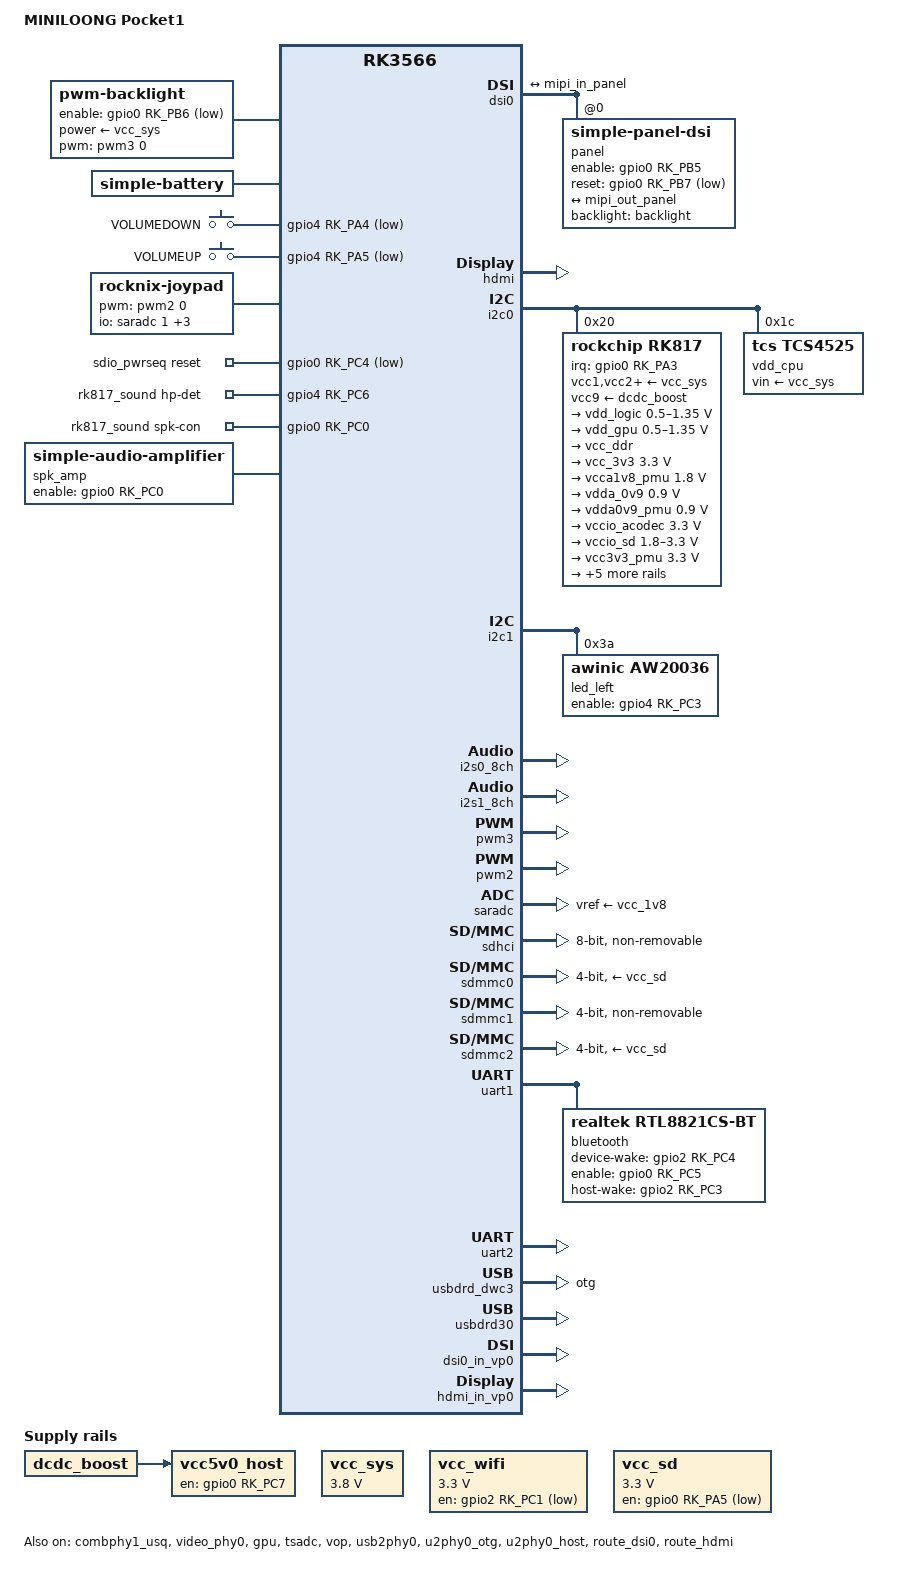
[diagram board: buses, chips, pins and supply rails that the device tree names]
// SPDX-License-Identifier: (GPL-2.0+ OR MIT)

/dts-v1/;

#include <dt-bindings/gpio/gpio.h>
#include <dt-bindings/input/linux-event-codes.h>
#include <dt-bindings/leds/common.h>
#include <dt-bindings/pinctrl/rockchip.h>
#include "rk3566.dtsi"
#include "rk3568-linux.dtsi"

/ {
	model = "MINILOONG Pocket1";
	chassis-type = "handset";
	compatible = "powkiddy,x55", "rockchip,rk3566";


	hdmi_sound: hdmi-sound {
		compatible = "simple-audio-card";
		simple-audio-card,format = "i2s";
		simple-audio-card,mclk-fs = <128>;
		simple-audio-card,name = "rockchip,hdmi";
		status = "okay";

		simple-audio-card,cpu {
			sound-dai = <&i2s0_8ch>;
		};

		simple-audio-card,codec {
			sound-dai = <&hdmi>;
		};
	};


	aliases {
		mmc0 = &sdhci;
		mmc1 = &sdmmc0;
		mmc2 = &sdmmc2;
		mmc3 = &sdmmc1;
	};

	chosen: chosen {
		stdout-path = "serial2:1500000n8";
	};

	backlight: backlight {
		compatible = "pwm-backlight";
		power-supply = <&vcc_sys>;
		enable-gpios = <&gpio0 RK_PB6 GPIO_ACTIVE_LOW>;
		pwms = <&pwm3 0 25000 0>;
		brightness-levels = <
		80	81	82	83	84	85	86	87	
		88	89	90  91  92  93  94  95
		96  97  98  99 100 101 102 103
		104 105 106 107 108 109 110 111
		112 113 114 115 116 117 118 119
		120 121 122 123 124 125 126 127
		128 129 130 131 132 133 134 135
		136 137 138 139 140 141 142 143
		144 145 146 147 148 149 150 151
		152 153 154 155 156 157 158 159
		160 161 162 163 164 165 166 167
		168 169 170 171 172 173 174 175
		176 177 178 179 180 181 182 183
		184 185 186 187 188 189 190 191
		192 193 194 195 196 197 198 199
		200 201 202 203 204 205 206 207
		208 209 210 211 212 213 214 215
		216 217 218 219 220>;
		default-brightness-level = <120>;

	};

	battery: battery {
		compatible = "simple-battery";
		charge-full-design-microamp-hours = <4000000>;
		charge-term-current-microamp = <300000>;
		constant-charge-current-max-microamp = <2000000>;
		constant-charge-voltage-max-microvolt = <4300000>;
		factory-internal-resistance-micro-ohms = <91000>;
		voltage-max-design-microvolt = <4138000>;
		voltage-min-design-microvolt = <3400000>;

		ocv-capacity-celsius = <20>;
		ocv-capacity-table-0 =  <4138000 100>, <4083000 95>, <4059000 90>, <4044000 85>,
					<4030000 80>, <4020000 75>, <4006000 70>, <3972000 65>,
					<3934000 60>, <3904000 55>, <3878000 50>, <3857000 45>,
					<3843000 40>, <3826000 35>, <3801000 30>, <3768000 25>,
					<3735000 20>, <3688000 15>, <3621000 10>, <3553000 5>,
					<3400000 0>;
	};

	gpio_keys_vol: gpio-keys-vol {
		compatible = "gpio-keys";
		autorepeat;
		pinctrl-0 = <&btn_pins_vol>;
		pinctrl-names = "default";

		button-voldown {
			gpios = <&gpio4 RK_PA4 GPIO_ACTIVE_LOW>;
			label = "VOLUMEDOWN";
			linux,code = <KEY_VOLUMEDOWN>;
		};

		button-volup {
			gpios = <&gpio4 RK_PA5 GPIO_ACTIVE_LOW>;
			label = "VOLUMEUP";
			linux,code = <KEY_VOLUMEUP>;
		};
	};


	joypad: rocknix-joypad {
		compatible = "rocknix-joypad";
		status = "okay";

		/* the following 4 dts entries starting from joypad-name are important to keep
		   compatibility with existing userspace programs such as ES and retroarch */
		joypad-name = "retrogame_joypad";
		joypad-product = <0x1101>;
		joypad-revision = <0x0100>;
		joypad-vendor = <0x484B>;

		pwms = <&pwm2 0 1000000000 0>;
		pwm-names = "enable";

		/* analog mux define */
		io-channel-names = "key-RY", "key-RX", "key-LY", "key-LX";
		io-channels = <&saradc 1>,<&saradc 0>,<&saradc 3>, <&saradc 2>;

		/* gpio pincontrol setup */
		pinctrl-names = "default";
		pinctrl-0 = <&btn_pins_ctrl>;

		/* adc calculate scale */
		button-adc-scale = <2>;

		/* adc deadzone range (minimum should be around 12%) */
		button-adc-deadzone = <64>;

		/* specifies fuzz value that is used to filter noise from
		   the event stream. (around 3%) */
		button-adc-fuzz = <54>;
		button-adc-flat = <54>;

		/* analog Stick data tuning value(precent)
		   p = positive direction, n = negative direction
		   report value = (real_adc_data * tuning_value) / 100 */
		abs_x-p-tuning = <280>;
		abs_x-n-tuning = <280>;

		abs_y-p-tuning = <280>;
		abs_y-n-tuning = <280>;

		abs_rx-p-tuning = <180>;
		abs_rx-n-tuning = <180>;

		abs_ry-p-tuning = <180>;
		abs_ry-n-tuning = <180>;

		invert-absx;
		invert-absy;

		/* poll device interval (ms), adc read interval */
		poll-interval = <10>;

		/* gpio button auto repeat set value : default disable */
		/* autorepeat; */

		/*    *** Powkiddy X55 Switch layout ***
		|------------------------------------------------|
		| sw15                                      sw13 |
		| sw16                                      sw14 |
		|------------------------------------------------|
		|                                                |
		|   Analog     |-------------------|             |
		|    sw11      |                   |      sw8    |
		|              |                   |   sw7   sw5 |
		|              |    LCD Display    |      sw6    |
		|     sw1      |                   |             |
		|  sw3  sw4    |                   |    Analog   |
		|     sw2      |-------------------|     sw12    |
		|                                                |
		| sw9 Vol+                           Vol- sw10   |
		|                                                |
		|------------------------------------------------| */

		sw1 {
			gpios = <&gpio3 RK_PD1 GPIO_ACTIVE_LOW>;
			label = "GPIO DPAD-UP";
			linux,code = <BTN_DPAD_UP>;
		};
		sw2 {
			gpios = <&gpio3 RK_PC6 GPIO_ACTIVE_LOW>;
			label = "GPIO DPAD-DOWN";
			linux,code = <BTN_DPAD_DOWN>;
		};
		sw3 {
			gpios = <&gpio3 RK_PC7 GPIO_ACTIVE_LOW>;
			label = "GPIO DPAD-LEFT";
			linux,code = <BTN_DPAD_LEFT>;
		};
		sw4 {
			gpios = <&gpio3 RK_PD0 GPIO_ACTIVE_LOW>;
			label = "GPIO DPAD-RIGHT";
			linux,code = <BTN_DPAD_RIGHT>;
		};
		sw5 {
			gpios = <&gpio3 RK_PD3 GPIO_ACTIVE_LOW>;
			label = "GPIO BTN-A";
			linux,code = <BTN_EAST>;
		};
		sw6 {
			gpios = <&gpio3 RK_PD5 GPIO_ACTIVE_LOW> ;
			label = "GPIO BTN-B";
			linux,code = <BTN_SOUTH>;
		};
		sw7 {
			gpios = <&gpio3 RK_PD2 GPIO_ACTIVE_LOW>;
			label = "GPIO BTN-Y";
			linux,code = <BTN_WEST>;
		};
		sw8 {
			gpios = <&gpio3 RK_PD4 GPIO_ACTIVE_LOW>;
			label = "GPIO BTN-X";
			linux,code = <BTN_NORTH>;
		};
		sw9 {
			gpios = <&gpio4 RK_PA2 GPIO_ACTIVE_LOW>;
			label = "BTN_SELECT";
			linux,code = <BTN_SELECT>;
		};
		sw10 {
			gpios = <&gpio4 RK_PA3 GPIO_ACTIVE_LOW>;
			label = "BTN_START";
			linux,code = <BTN_START>;
		};
		/* this sw11 entry is SPECIAL, most RK3566 devices do not have
		   this physical button but for the sake of keeping compatibility
		   with ES and retroarch, this phantom button and offset will
		   allow existing userspace programs to work without doing any
		   new remapping thus saving lots of headaches and extra work */
		sw11 {
			gpios = <&gpio4 RK_PA6 GPIO_ACTIVE_LOW>;
			label = "GPIO BTN_F";
			linux,code = <BTN_MODE>;
		};
		sw12 {
			gpios = <&gpio2 RK_PC5 GPIO_ACTIVE_LOW>;
			label = "BTN_THUMBL";
			linux,code = <BTN_THUMBL>;
		};
		sw13 {
			gpios = <&gpio4 RK_PA7 GPIO_ACTIVE_LOW>;
			label = "BTN_THUMBR";
			linux,code = <BTN_THUMBR>;
		};
		sw14 {
			gpios = <&gpio4 RK_PA0 GPIO_ACTIVE_LOW>;
			label = "GPIO BTN_TR";
			linux,code = <BTN_TR>;
		};
		sw15 {
			gpios = <&gpio4 RK_PA1 GPIO_ACTIVE_LOW>;
			label = "GPIO BTN_TR2";
			linux,code = <BTN_TR2>;
		};
		sw16 {
			gpios = <&gpio3 RK_PD6 GPIO_ACTIVE_LOW>;
			label = "GPIO BTN_TL";
			linux,code = <BTN_TL>;
		};
		sw17 {
			gpios = <&gpio3 RK_PD7 GPIO_ACTIVE_LOW>;
			label = "GPIO BTN_TL2";
			linux,code = <BTN_TL2>;
		};
	};

	sdio_pwrseq: sdio-pwrseq {
		compatible = "mmc-pwrseq-simple";
		clocks = <&rk817 1>;
		clock-names = "ext_clock";
		pinctrl-0 = <&wifi_enable_h>;
		pinctrl-names = "default";
		post-power-on-delay-ms = <200>;
		reset-gpios = <&gpio0 RK_PC4 GPIO_ACTIVE_LOW>;
	};

	rk817_sound: rk817-sound {
		status = "okay";
		compatible = "rockchip,multicodecs-card";
		rockchip,card-name = "rockchip-rk817";
		rockchip,format = "i2s";
		rockchip,mclk-fs = <256>;
		rockchip,cpu = <&i2s1_8ch>;
		rockchip,codec = <&rk817_codec>;
		hp-det-gpio = <&gpio4 RK_PC6 GPIO_ACTIVE_HIGH>;
		spk-con-gpios = <&gpio0 RK_PC0 GPIO_ACTIVE_HIGH>;
		pinctrl-names = "default";
		pinctrl-0 = <&hp_det &spk_amp_enable_h>;
		rockchip,audio-routing =
			"Headphone", "HPOL",
			"Headphone", "HPOR",
			"Speaker", "HPOL",
			"Speaker", "HPOR";
	};

	spk_amp: audio-amplifier {
		compatible = "simple-audio-amplifier";
		enable-gpios = <&gpio0 RK_PC0 GPIO_ACTIVE_HIGH>;
		pinctrl-0 = <&spk_amp_enable_h>;
		pinctrl-names = "default";
		sound-name-prefix = "Speaker Amp";
	};

	vcc5v0_host: regulator-vcc5v0-host {
		compatible = "regulator-fixed";
		enable-active-high;
		gpio = <&gpio0 RK_PC7 GPIO_ACTIVE_HIGH>;
		pinctrl-0 = <&vcc5v0_host_en>;
		pinctrl-names = "default";
		regulator-name = "vcc5v0_host";
		vin-supply = <&dcdc_boost>;
	};

/*
	vcc_spk: regulator-vcc-spk {
		compatible = "regulator-fixed";
		enable-active-high;
		regulator-always-on;
		regulator-boot-on;
		gpio = <&gpio0 RK_PC0 GPIO_ACTIVE_HIGH>;
		pinctrl-0 = <&vcc_spk_en>;
		pinctrl-names = "default";
		post-power-on-delay-ms = <200>;
		regulator-min-microvolt = <1800000>;
		regulator-max-microvolt = <1800000>;
		regulator-name = "vcc_spk";
		regulator-state-mem {
			regulator-off-in-suspend;
		};
	};
*/
	vcc_sys: regulator-vcc-sys {
		compatible = "regulator-fixed";
		regulator-always-on;
		regulator-boot-on;
		regulator-min-microvolt = <3800000>;
		regulator-max-microvolt = <3800000>;
		regulator-name = "vcc_sys";
	};

	vcc_wifi: regulator-vcc-wifi {
		compatible = "regulator-fixed";
		gpio = <&gpio2 RK_PC1 GPIO_ACTIVE_LOW>;
		pinctrl-0 = <&vcc_wifi_h>;
		pinctrl-names = "default";
		regulator-min-microvolt = <3300000>;
		regulator-max-microvolt = <3300000>;
		regulator-name = "vcc_wifi";
	};

	vcc_sd: regulator-vcc-sd {
		compatible = "regulator-fixed";
		gpio = <&gpio0 RK_PA5 GPIO_ACTIVE_LOW>;
		pinctrl-0 = <&vcc_sd_h>;
		pinctrl-names = "default";
		regulator-name = "vcc_sd";
		regulator-min-microvolt = <3300000>;
		regulator-max-microvolt = <3300000>;
		enable-active-low;
		startup-delay-us = <10000>;
	};
/*
	vibrator:vibrator {
		compatible = "pwm-vibrator";
		pwms = <&pwm2 0 1000000 0>;
		pwm-names = "enable";
	};*/
};

&combphy1_usq {
	status = "okay";
};

&cru {
	assigned-clocks = <&pmucru CLK_RTC_32K>, <&cru PLL_GPLL>,
			  <&pmucru PLL_PPLL>, <&cru PLL_VPLL>;
	assigned-clock-rates = <32768>, <1200000000>,
			       <200000000>, <594000000>;
};

&cpu0 {
	cpu-supply = <&vdd_cpu>;
};

&cpu1 {
	cpu-supply = <&vdd_cpu>;
};

&cpu2 {
	cpu-supply = <&vdd_cpu>;
};

&cpu3 {
	cpu-supply = <&vdd_cpu>;
};

&video_phy0 {
	status = "okay";
};

&dsi0 {
	status = "okay";
	#address-cells = <1>;
	#size-cells = <0>;


	panel: panel@0 {
		compatible = "simple-panel-dsi";
		reg = <0>;
		backlight = <&backlight>;
		enable-gpios = <&gpio0 RK_PB5 GPIO_ACTIVE_HIGH>;
		reset-gpios = <&gpio0 RK_PB7 GPIO_ACTIVE_LOW>;
		pinctrl-names = "default";
		pinctrl-0 = <&lcd_enable_gpio &lcd_rst_gpio>;
		prepare-delay-ms = <120>;
		reset-delay-ms = <120>;
		init-delay-ms = <120>;
		stbyb-delay-ms = <120>;
		enable-delay-ms = <120>;
		disable-delay-ms = <120>;
		unprepare-delay-ms = <120>;
		width-mm = <229>;
		height-mm = <143>;
		dsi,flags = <0xa03>;
		dsi,format = <0>;
		dsi,lanes = <4>;
		rotation = <270>;
		panel-init-sequence = [
			39 00 04 ff 98 81 03 15 00 02 01 00 15 00 02 02
			00 15 00 02 03 72 15 00 02 04 00 15 00 02 05 00
			15 00 02 06 09 15 00 02 07 00 15 00 02 08 00 15
			00 02 09 01 15 00 02 0a 00 15 00 02 0b 00 15 00
			02 0c 01 15 00 02 0d 00 15 00 02 0e 00 15 00 02
			0f 00 15 00 02 10 00 15 00 02 11 00 15 00 02 12
			00 15 00 02 13 00 15 00 02 14 00 15 00 02 15 00
			15 00 02 16 00 15 00 02 17 00 15 00 02 18 00 15
			00 02 19 00 15 00 02 1a 00 15 00 02 1b 00 15 00
			02 1c 00 15 00 02 1d 00 15 00 02 1e 40 15 00 02
			1f 80 15 00 02 20 05 15 00 02 21 02 15 00 02 22
			00 15 00 02 23 00 15 00 02 24 00 15 00 02 25 00
			15 00 02 26 00 15 00 02 27 00 15 00 02 28 33 15
			00 02 29 02 15 00 02 2a 00 15 00 02 2b 00 15 00
			02 2c 00 15 00 02 2d 00 15 00 02 2e 00 15 00 02
			2f 00 15 00 02 31 00 15 00 02 32 00 15 00 02 33
			00 15 00 02 34 04 15 00 02 35 00 15 00 02 36 00
			15 00 02 37 00 15 00 02 38 3c 15 00 02 39 00 15
			00 02 3a 40 15 00 02 3b 40 15 00 02 3c 00 15 00
			02 3d 00 15 00 02 3e 00 15 00 02 3f 00 15 00 02
			40 00 15 00 02 41 00 15 00 02 42 00 15 00 02 43
			00 15 00 02 44 00 15 00 02 50 01 15 00 02 51 23
			15 00 02 52 45 15 00 02 53 67 15 00 02 54 89 15
			00 02 55 ab 15 00 02 56 01 15 00 02 57 23 15 00
			02 58 45 15 00 02 59 67 15 00 02 5a 89 15 00 02
			5b ab 15 00 02 5c cd 15 00 02 5d ef 15 00 02 5e
			11 15 00 02 5f 01 15 00 02 60 00 15 00 02 61 15
			15 00 02 62 14 15 00 02 63 0e 15 00 02 64 0f 15
			00 02 65 0c 15 00 02 66 0d 15 00 02 67 06 15 00
			02 68 02 15 00 02 69 07 15 00 02 6a 02 15 00 02
			6b 02 15 00 02 6c 02 15 00 02 6d 02 15 00 02 6e
			02 15 00 02 6f 02 15 00 02 70 02 15 00 02 71 02
			15 00 02 72 02 15 00 02 73 02 15 00 02 74 02 15
			00 02 75 01 15 00 02 76 00 15 00 02 77 14 15 00
			02 78 15 15 00 02 79 0e 15 00 02 7a 0f 15 00 02
			7b 0c 15 00 02 7c 0d 15 00 02 7d 06 15 00 02 7e
			02 15 00 02 7f 07 15 00 02 80 02 15 00 02 81 02
			15 00 02 82 02 15 00 02 83 02 15 00 02 84 02 15
			00 02 85 02 15 00 02 86 02 15 00 02 87 02 15 00
			02 88 02 15 00 02 89 02 15 00 02 8a 02 39 00 04
			ff 98 81 04 15 00 02 38 01 15 00 02 39 00 15 00
			02 6c 15 15 00 02 6e 2a 15 00 02 6f 34 15 00 02
			3a 94 15 00 02 8d 14 15 00 02 87 ba 15 00 02 26
			76 15 00 02 b2 d1 15 00 02 b5 06 15 00 02 3b 98
			39 00 04 ff 98 81 01 15 00 02 22 09 15 00 02 2e
			78 15 00 02 31 00 15 00 02 53 90 15 00 02 55 a2
			15 00 02 50 b7 15 00 02 51 b7 15 00 02 60 22 15
			00 02 61 00 15 00 02 62 19 15 00 02 63 10 15 00
			02 a0 08 15 00 02 a1 1a 15 00 02 a2 27 15 00 02
			a3 15 15 00 02 a4 17 15 00 02 a5 2a 15 00 02 a6
			1e 15 00 02 a7 1f 15 00 02 a8 8b 15 00 02 a9 1b
			15 00 02 aa 27 15 00 02 ab 78 15 00 02 ac 18 15
			00 02 ad 18 15 00 02 ae 4c 15 00 02 af 21 15 00
			02 b0 27 15 00 02 b1 54 15 00 02 b2 67 15 00 02
			b3 39 15 00 02 c0 08 15 00 02 c1 1a 15 00 02 c2
			27 15 00 02 c3 15 15 00 02 c4 17 15 00 02 c5 2a
			15 00 02 c6 1e 15 00 02 c7 1f 15 00 02 c8 8b 15
			00 02 c9 1b 15 00 02 ca 27 15 00 02 cb 78 15 00
			02 cc 18 15 00 02 cd 18 15 00 02 ce 4c 15 00 02
			cf 21 15 00 02 d0 27 15 00 02 d1 54 15 00 02 d2
			67 15 00 02 d3 39 39 00 04 ff 98 81 00 15 00 02
			35 00 05 c8 01 11 05 28 01 29
		];
		panel-exit-sequence = <0x5dc0128 0x5780110>;

		display-timings {
			native-mode = <&panel_timing0>;

			panel_timing0: timing0 {
				clock-frequency = <47104000>;
				hactive = <720>;
				vactive = <960>;
				hsync-len = <14>;
				hback-porch = <20>;
				hfront-porch = <15>;
				vsync-len = <8>;
				vback-porch = <20>;
				vfront-porch = <30>;
				hsync-active = <0>;
				vsync-active = <0>;
				de-active = <0>;
				pixelclk-active = <0>;
			};
		};

		ports {
			#address-cells = <1>;
			#size-cells = <0>;

			port@0 {
				reg = <0>;

				mipi_in_panel: endpoint {
					remote-endpoint = <&mipi_out_panel>;
				};
			};
		};
	};

	ports {
		#address-cells = <1>;
		#size-cells = <0>;

		port@1 {
			reg = <1>;
			mipi_out_panel: endpoint {
				remote-endpoint = <&mipi_in_panel>;
			};
		};
	};
};

&gpu {
	operating-points-v2 = <&gpu_opp_table>;
	mali-supply = <&vdd_gpu>;
	status = "okay";
};

&hdmi {
	ddc-i2c-bus = <&i2c5>;
	pinctrl-0 = <&hdmitxm0_cec>;
	pinctrl-names = "default";
	status = "okay";
};





&hdmi_sound {
	status = "okay";
};

&i2c0 {
	status = "okay";

	rk817: pmic@20 {
		compatible = "rockchip,rk817";
		reg = <0x20>;
		clock-output-names = "rk808-clkout1", "rk808-clkout2";
		interrupt-parent = <&gpio0>;
		interrupts = <RK_PA3 IRQ_TYPE_LEVEL_LOW>;
		pinctrl-names = "default", "pmic-sleep",
				"pmic-power-off", "pmic-reset";
		pinctrl-0 = <&pmic_int_l>;
		pinctrl-1 = <&soc_slppin_slp>, <&rk817_slppin_slp>;
		pinctrl-2 = <&soc_slppin_gpio>, <&rk817_slppin_pwrdn>;
		pinctrl-3 = <&soc_slppin_gpio>, <&rk817_slppin_rst>;
		rockchip,system-power-controller;
		wakeup-source;
		#clock-cells = <1>;
		/* 1: rst regs (default in codes), 0: rst the pmic */
		pmic-reset-func = <0>;
		/* not save the PMIC_POWER_EN register in uboot */
		not-save-power-en = <1>;

		vcc1-supply = <&vcc_sys>;
		vcc2-supply = <&vcc_sys>;
		vcc3-supply = <&vcc_sys>;
		vcc4-supply = <&vcc_sys>;
		vcc5-supply = <&vcc_sys>;
		vcc6-supply = <&vcc_sys>;
		vcc7-supply = <&vcc_sys>;
		vcc8-supply = <&vcc_sys>;
		vcc9-supply = <&dcdc_boost>;

		pwrkey {
			status = "okay";
		};

		pinctrl_rk8xx: pinctrl_rk8xx {
			gpio-controller;
			#gpio-cells = <2>;

			rk817_slppin_null: rk817_slppin_null {
				pins = "gpio_slp";
				function = "pin_fun0";
			};

			rk817_slppin_slp: rk817_slppin_slp {
				pins = "gpio_slp";
				function = "pin_fun1";
			};

			rk817_slppin_pwrdn: rk817_slppin_pwrdn {
				pins = "gpio_slp";
				function = "pin_fun2";
			};

			rk817_slppin_rst: rk817_slppin_rst {
				pins = "gpio_slp";
				function = "pin_fun3";
			};
		};

		regulators {
			vdd_logic: DCDC_REG1 {
				regulator-always-on;
				regulator-boot-on;
				regulator-min-microvolt = <500000>;
				regulator-max-microvolt = <1350000>;
				regulator-ramp-delay = <6001>;
				regulator-initial-mode = <0x2>;
				regulator-name = "vdd_logic";
				regulator-state-mem {
					regulator-off-in-suspend;
					regulator-suspend-microvolt = <900000>;
				};
			};

			vdd_gpu: DCDC_REG2 {
				regulator-always-on;
				regulator-boot-on;
				regulator-min-microvolt = <500000>;
				regulator-max-microvolt = <1350000>;
				regulator-ramp-delay = <6001>;
				regulator-initial-mode = <0x2>;
				regulator-name = "vdd_gpu";
				regulator-state-mem {
					regulator-off-in-suspend;
				};
			};

			vcc_ddr: DCDC_REG3 {
				regulator-always-on;
				regulator-boot-on;
				regulator-initial-mode = <0x2>;
				regulator-name = "vcc_ddr";
				regulator-state-mem {
					regulator-on-in-suspend;
				};
			};

			vcc_3v3: DCDC_REG4 {
				regulator-always-on;
				regulator-boot-on;
				regulator-min-microvolt = <3300000>;
				regulator-max-microvolt = <3300000>;
				regulator-initial-mode = <0x2>;
				regulator-name = "vcc_3v3";
				regulator-state-mem {
					regulator-on-in-suspend;
					regulator-suspend-microvolt = <3300000>;
				};
			};

			vcca1v8_pmu: LDO_REG1 {
				regulator-always-on;
				regulator-boot-on;
				regulator-min-microvolt = <1800000>;
				regulator-max-microvolt = <1800000>;
				regulator-name = "vcca1v8_pmu";
				regulator-state-mem {
					regulator-on-in-suspend;
					regulator-suspend-microvolt = <1800000>;
				};
			};

			vdda_0v9: LDO_REG2 {
				regulator-always-on;
				regulator-boot-on;
				regulator-min-microvolt = <900000>;
				regulator-max-microvolt = <900000>;
				regulator-name = "vdda_0v9";
				regulator-state-mem {
					regulator-off-in-suspend;
				};
			};

			vdda0v9_pmu: LDO_REG3 {
				regulator-always-on;
				regulator-boot-on;
				regulator-min-microvolt = <900000>;
				regulator-max-microvolt = <900000>;
				regulator-name = "vdda0v9_pmu";
				regulator-state-mem {
					regulator-on-in-suspend;
					regulator-suspend-microvolt = <900000>;
				};
			};

			vccio_acodec: LDO_REG4 {
				regulator-always-on;
				regulator-boot-on;
				regulator-min-microvolt = <3300000>;
				regulator-max-microvolt = <3300000>;
				regulator-name = "vccio_acodec";
				regulator-state-mem {
					regulator-off-in-suspend;
				};
			};

			vccio_sd: LDO_REG5 {
				regulator-always-on;
				regulator-boot-on;
				regulator-min-microvolt = <1800000>;
				regulator-max-microvolt = <3300000>;
				regulator-name = "vccio_sd";
				regulator-state-mem {
					regulator-off-in-suspend;
				};
			};

			vcc3v3_pmu: LDO_REG6 {
				regulator-always-on;
				regulator-boot-on;
				regulator-min-microvolt = <3300000>;
				regulator-max-microvolt = <3300000>;
				regulator-name = "vcc3v3_pmu";
				regulator-state-mem {
					regulator-on-in-suspend;
					regulator-suspend-microvolt = <3300000>;
				};
			};

			vcc_1v8: LDO_REG7 {
				regulator-always-on;
				regulator-boot-on;
				regulator-min-microvolt = <1800000>;
				regulator-max-microvolt = <1800000>;
				regulator-name = "vcc_1v8";
				regulator-state-mem {
					regulator-off-in-suspend;
				};
			};

			vcc1v8_dvp: LDO_REG8 {
				regulator-always-on;
				regulator-boot-on;
				regulator-min-microvolt = <1800000>;
				regulator-max-microvolt = <1800000>;
				regulator-name = "vcc1v8_dvp";
				regulator-state-mem {
					regulator-off-in-suspend;
				};
			};

			vcc2v8_dvp: LDO_REG9 {
				regulator-always-on;
				regulator-boot-on;
				regulator-min-microvolt = <1800000>;
				regulator-max-microvolt = <3300000>;
				regulator-name = "vcc2v8_dvp";
				regulator-state-mem {
					regulator-off-in-suspend;
				};
			};

			dcdc_boost: BOOST {
				regulator-always-on;
				regulator-boot-on;
				regulator-min-microvolt = <4700000>;
				regulator-max-microvolt = <5400000>;
				regulator-name = "boost";
				regulator-state-mem {
					regulator-off-in-suspend;
				};
			};

			otg_switch: OTG_SWITCH {
				regulator-name = "otg_switch";
				regulator-state-mem {
					regulator-off-in-suspend;
				};
			};
		};

		battery {
			compatible = "rk817,battery";
			ocv_table = <3400 3501 3555 3627 3715 3783 3819
				     3839 3855 3866 3872 3886 3914 3977
				     4027 4033 4034 4036 4040 4070 4179>;
			design_capacity = <3853>;
			design_qmax = <4400>;
			bat_res = <61>;
			sleep_enter_current = <300>;
			sleep_exit_current = <300>;
			sleep_filter_current = <100>;
			power_off_thresd = <3400>;
			zero_algorithm_vol = <3850>;
			max_soc_offset = <60>;
			monitor_sec = <5>;
			sample_res = <10>;
			virtual_power = <0>;
		};

		rk817_charger: charger {
			compatible = "rk817,charger";
			min_input_voltage = <4500>;
			max_input_current = <1500>;
			max_chrg_current = <2000>;
			max_chrg_voltage = <4200>;
			chrg_term_mode = <0>;
			chrg_finish_cur = <300>;
			virtual_power = <0>;
			dc_det_adc = <0>;
			otg5v_suspend_enable = <1>;
			extcon = <&usb2phy0>;
			rockchip,charger-use-pmic-plug;
		};

		rk817_codec: codec {
			compatible = "rockchip,rk817-codec";
			#sound-dai-cells = <0>;
			clocks = <&cru I2S1_MCLKOUT>;
			clock-names = "mclk";
			assigned-clocks = <&cru I2S1_MCLKOUT>,
					  <&cru I2S1_MCLK_TX_IOE>;
			assigned-clock-rates = <12288000>;
			assigned-clock-parents = <&cru I2S1_MCLKOUT_TX>,
						 <&cru I2S1_MCLKOUT_TX>;
			pinctrl-names = "default";
			pinctrl-0 = <&i2s1m0_mclk>;
			hp-volume = <20>;
			spk-volume = <3>;
			out-l2spk-r2hp;
			status = "okay";
		};

	};

	vdd_cpu: regulator@1c {
		compatible = "tcs,tcs4525";
		reg = <0x1c>;
		fcs,suspend-voltage-selector = <1>;
		regulator-always-on;
		regulator-boot-on;
		regulator-min-microvolt = <712500>;
		regulator-max-microvolt = <1390000>;
		regulator-name = "vdd_cpu";
		regulator-ramp-delay = <2300>;
		vin-supply = <&vcc_sys>;
		regulator-state-mem {
			regulator-off-in-suspend;
		};
	};
};

&i2c1 {
	status = "okay";
	led_left: led-controller@3a {
		compatible = "awinic,aw20036";
		reg = <0x3a>;
		enable-gpios = <&gpio4 RK_PC3 GPIO_ACTIVE_HIGH>;
		status = "okay";
		awinic,joystick-leds;
		#address-cells = <1>;
		#size-cells = <0>;
		led@1 {
			reg = <1>;
			led-max-microamp = <5000>;
			label = "awinic1";
		};
		led@2 {
			reg = <2>;
			led-max-microamp = <5000>;
			label = "awinic2";
		};
		led@3 {
			reg = <3>;
			led-max-microamp = <5000>;
			label = "awinic3";
		};
		led@4 {
			reg = <4>;
			led-max-microamp = <5000>;
			label = "awinic4";
		};
		led@5 {
			reg = <5>;
			led-max-microamp = <5000>;
			label = "awinic5";
		};
		led@6 {
			reg = <6>;
			led-max-microamp = <5000>;
			label = "awinic6";
		};
		led@7 {
			reg = <7>;
			led-max-microamp = <5000>;
			label = "awinic7";
		};
		led@8 {
			reg = <8>;
			led-max-microamp = <5000>;
			label = "awinic8";
		};
		led@9 {
			reg = <9>;
			led-max-microamp = <5000>;
			label = "awinic9";
		};
		led@10 {
			reg = <10>;
			led-max-microamp = <5000>;
			label = "awinic10";
		};
		led@11 {
			reg = <11>;
			led-max-microamp = <5000>;
			label = "awinic11";
		};
		led@12 {
			reg = <12>;
			led-max-microamp = <5000>;
			label = "awinic12";
		};
		led@13 {
			reg = <13>;
			led-max-microamp = <5000>;
			label = "awinic13";
		};
		led@14 {
			reg = <14>;
			led-max-microamp = <5000>;
			label = "awinic14";
		};
		led@15 {
			reg = <15>;
			led-max-microamp = <5000>;
			label = "awinic15";
		};
		led@16 {
			reg = <16>;
			led-max-microamp = <5000>;
			label = "awinic16";
		};
		led@17 {
			reg = <17>;
			led-max-microamp = <5000>;
			label = "awinic17";
		};
		led@18 {
			reg = <18>;
			led-max-microamp = <5000>;
			label = "awinic18";
		};
		led@19 {
			reg = <19>;
			led-max-microamp = <5000>;
			label = "awinic19";
		};
		led@20 {
			reg = <20>;
			led-max-microamp = <5000>;
			label = "awinic20";
		};
		led@21 {
			reg = <21>;
			led-max-microamp = <5000>;
			label = "awinic21";
		};
		led@22 {
			reg = <22>;
			led-max-microamp = <5000>;
			label = "awinic22";
		};
		led@23 {
			reg = <23>;
			led-max-microamp = <5000>;
			label = "awinic23";
		};
		led@24 {
			reg = <24>;
			led-max-microamp = <5000>;
			label = "awinic24";
		};
		led@25 {
			reg = <25>;
			led-max-microamp = <5000>;
			label = "awinic25";
		};
		led@26 {
			reg = <26>;
			led-max-microamp = <5000>;
			label = "awinic26";
		};
		led@27 {
			reg = <27>;
			led-max-microamp = <5000>;
			label = "awinic27";
		};
		led@28 {
			reg = <28>;
			led-max-microamp = <5000>;
			label = "awinic28";
		};
		led@29 {
			reg = <29>;
			led-max-microamp = <5000>;
			label = "awinic29";
		};
		led@30 {
			reg = <30>;
			led-max-microamp = <5000>;
			label = "awinic30";
		};
		led@31 {
			reg = <31>;
			led-max-microamp = <5000>;
			label = "awinic31";
		};
		led@32 {
			reg = <32>;
			led-max-microamp = <5000>;
			label = "awinic32";
		};
	};
};

&i2c5 {
	pinctrl-0 = <&i2c5m0_xfer>;
	pinctrl-names = "default";
	status = "disabled";
	clock-frequency = <400000>;
	i2c-scl-rising-time-ns = <144>;
	i2c-scl-falling-time-ns = <4>;

	sensor@18 {
		compatible = "gs_sc7a20";
		reg = <0x18>;
		type = <2>;
		irq_enable = <0>;
		pinctrl-names = "default";
		pinctrl-0 = <&sensor_gpio>;
		irq-gpio = <&gpio3 RK_PA2 1>;
		poll_delay_ms = <10>;
		layout = <1>;
	};
};

&i2s0_8ch {
	status = "okay";
};

&i2s1_8ch {
	pinctrl-0 = <&i2s1m0_sclktx>, <&i2s1m0_lrcktx>, <&i2s1m0_sdi0>,
		    <&i2s1m0_sdo0>;
	pinctrl-names = "default";
	rockchip,clk-trcm = <1>;
	status = "okay";
};

&pinctrl {
	audio-amplifier {
		spk_amp_enable_h: spk-amp-enable-h {
			rockchip,pins =
				<0 RK_PC0 RK_FUNC_GPIO &pcfg_pull_up>;
		};
	};

	gpio-control {
		btn_pins_ctrl: btn-pins-ctrl {
			rockchip,pins =
				<3 RK_PD1 RK_FUNC_GPIO &pcfg_pull_up>,
				<3 RK_PC6 RK_FUNC_GPIO &pcfg_pull_up>,
				<3 RK_PC7 RK_FUNC_GPIO &pcfg_pull_up>,
				<3 RK_PD0 RK_FUNC_GPIO &pcfg_pull_up>,
				<3 RK_PD3 RK_FUNC_GPIO &pcfg_pull_up>,
				<3 RK_PD5 RK_FUNC_GPIO &pcfg_pull_up>,
				<3 RK_PD2 RK_FUNC_GPIO &pcfg_pull_up>,
				<3 RK_PD4 RK_FUNC_GPIO &pcfg_pull_up>,
				<4 RK_PA2 RK_FUNC_GPIO &pcfg_pull_up>,
				<4 RK_PA3 RK_FUNC_GPIO &pcfg_pull_up>,
				<4 RK_PA6 RK_FUNC_GPIO &pcfg_pull_up>,
				<4 RK_PA7 RK_FUNC_GPIO &pcfg_pull_up>,
				<2 RK_PC5 RK_FUNC_GPIO &pcfg_pull_up>,
				<4 RK_PA0 RK_FUNC_GPIO &pcfg_pull_up>,
				<4 RK_PA1 RK_FUNC_GPIO &pcfg_pull_up>,
				<3 RK_PD6 RK_FUNC_GPIO &pcfg_pull_up>,
				<3 RK_PD7 RK_FUNC_GPIO &pcfg_pull_up>;
		};

		btn_pins_vol: btn-pins-vol {
			rockchip,pins =
				<4 RK_PA4 RK_FUNC_GPIO &pcfg_pull_up>,
				<4 RK_PA5 RK_FUNC_GPIO &pcfg_pull_up>;
		};
	};

	lcd {
		lcd_enable_gpio: lcd-enable-gpio {
			rockchip,pins =
				<0 RK_PB5 RK_FUNC_GPIO &pcfg_pull_none>;
		};

		lcd_rst_gpio: lcd-rst-gpio {
			rockchip,pins =
				<0 RK_PB7 RK_FUNC_GPIO &pcfg_pull_none>;
		};
	};

	hp-detect {
		hp_det: hp-det {
			rockchip,pins =
				<4 RK_PC6 RK_FUNC_GPIO &pcfg_pull_up>;
		};
	};

	sensor {
		sensor_gpio: sensor-gpio {
			rockchip,pins =
				<3 RK_PA2 RK_FUNC_GPIO &pcfg_pull_none>;
		};
	};

	pmic {
		pmic_int_l: pmic-int-l {
			rockchip,pins =
				<0 RK_PA3 RK_FUNC_GPIO &pcfg_pull_up>;
		};

		soc_slppin_gpio: soc_slppin_gpio {
			rockchip,pins =
				<0 RK_PA2 RK_FUNC_GPIO &pcfg_output_low>;
		};

		soc_slppin_slp: soc_slppin_slp {
			rockchip,pins =
				<0 RK_PA2 1 &pcfg_pull_up>;
		};

		soc_slppin_rst: soc_slppin_rst {
			rockchip,pins =
				<0 RK_PA2 2 &pcfg_pull_none>;
		};
	};

	sdio-pwrseq {
		wifi_enable_h: wifi-enable-h {
			rockchip,pins =
				<0 RK_PC4 RK_FUNC_GPIO &pcfg_pull_none>;
		};
	};

	usb {
		vcc5v0_host_en: vcc5v0-host-en {
			rockchip,pins =
				<0 RK_PC7 RK_FUNC_GPIO &pcfg_pull_up>;
		};

		/*vcc5v0_otg_en: vcc5v0-otg-en {
			rockchip,pins =
				<0 RK_PC0 RK_FUNC_GPIO &pcfg_pull_up>;
		};*/
	};

	vcc-spk {
		vcc_spk_en: vcc-spk-en {
			rockchip,pins =
				<0 RK_PC0 RK_FUNC_GPIO &pcfg_pull_none>;
		};
	};

	vcc-wifi {
		vcc_wifi_h: vcc-wifi-h {
			rockchip,pins =
				<2 RK_PC1 RK_FUNC_GPIO &pcfg_pull_none>;
		};
	};

	vcc-sd {
		vcc_sd_h: vcc-sd-h {
			rockchip,pins =
				<0 RK_PA5 RK_FUNC_GPIO &pcfg_pull_none>;
		};
	};
};

&pmu_io_domains {
	status = "okay";
	pmuio1-supply = <&vcc3v3_pmu>;
	pmuio2-supply = <&vcc3v3_pmu>;
	vccio1-supply = <&vccio_acodec>;
	vccio3-supply = <&vccio_sd>;
	vccio4-supply = <&vcca1v8_pmu>;
	vccio5-supply = <&vcc_3v3>;
	vccio6-supply = <&vcc_3v3>;
	vccio7-supply = <&vcc_3v3>;
};

&pwm3 {
	status = "okay";
};

&pwm2 {
	status = "okay";
};

&saradc {
	vref-supply = <&vcc_1v8>;
	status = "okay";
};

&sdhci {
	bus-width = <8>;
	no-sdio;
	no-sd;
	non-removable;
	max-frequency = <200000000>;
	status = "okay";
};

&sdmmc0 {
	bus-width = <4>;
	no-sdio;
	no-mmc;
	cap-mmc-highspeed;
	cap-sd-highspeed;
	disable-wp;
	pinctrl-0 = <&sdmmc0_bus4>, <&sdmmc0_clk>, <&sdmmc0_cmd>,
		    <&sdmmc0_det>;
	pinctrl-names = "default";
	sd-uhs-sdr104;
	vmmc-supply = <&vcc_sd>;
	vqmmc-supply = <&vccio_sd>;
	status = "okay";
};

&sdmmc1 {
	bus-width = <4>;
	cap-sd-highspeed;
	cap-sdio-irq;
	disable-wp;
	keep-power-in-suspend;
	max-frequency = <200000000>;
	mmc-pwrseq = <&sdio_pwrseq>;
	non-removable;
	pinctrl-0 = <&sdmmc1_bus4>, <&sdmmc1_cmd>, <&sdmmc1_clk>;
	pinctrl-names = "default";
	no-mmc;
	no-sd;
	sd-uhs-sdr104;
	rockchip,default-sample-phase = <90>;
	status = "okay";
};

&sdmmc2 {
	bus-width = <4>;
	cap-mmc-highspeed;
	cap-sd-highspeed;
	disable-wp;
	pinctrl-0 = <&sdmmc2m1_bus4>, <&sdmmc2m1_cmd>, <&sdmmc2m1_clk>,
		    <&sdmmc2m1_det>;
	pinctrl-names = "default";
	sd-uhs-sdr104;
	vmmc-supply = <&vcc_sd>;
	vqmmc-supply = <&vccio_sd>;
	status = "okay";
};

&tsadc {
	rockchip,hw-tshut-mode = <1>;
	rockchip,hw-tshut-polarity = <0>;
	status = "okay";
};

&uart1 {
	pinctrl-0 = <&uart1m0_xfer>, <&uart1m0_ctsn>, <&uart1m0_rtsn>;
	pinctrl-names = "default";
	uart-has-rtscts;
	status = "okay";

	bluetooth {
		compatible = "realtek,rtl8821cs-bt", "realtek,rtl8723bs-bt";
		device-wake-gpios = <&gpio2 RK_PC4 GPIO_ACTIVE_HIGH>;
		enable-gpios = <&gpio0 RK_PC5 GPIO_ACTIVE_HIGH>;
		host-wake-gpios = <&gpio2 RK_PC3 GPIO_ACTIVE_HIGH>;
	};
};

&uart2 {
	status = "okay";
};





&vop {
	assigned-clocks = <&cru DCLK_VOP0>, <&cru DCLK_VOP1>;
	assigned-clock-parents = <&pmucru PLL_HPLL>, <&cru PLL_VPLL>;
	status = "okay";
};

&vop_mmu {
	status = "okay";
};

&usb2phy0 {
	status = "okay";
};

&u2phy0_otg {
	status = "okay";
};

&u2phy0_host {
	phy-supply = <&vcc5v0_host>;
	status = "okay";
};

&usb_host0_ehci {
	status = "disabled";
};

&usb_host0_ohci {
	status = "disabled";
};

&usb_host1_ehci {
	status = "disabled";
};

&usb_host1_ohci {
	status = "disabled";
};

&usbdrd_dwc3 {
	dr_mode = "otg";
	extcon = <&usb2phy0>;
	status = "okay";
};

&usbdrd30 {
	status = "okay";
};

&usbhost_dwc3 {
	status = "disabled";
};

&usbhost30 {
	status = "disabled";
};

&video_phy0 {
	status = "okay";
};

&dsi0_in_vp0 {
	status = "okay";
};

&dsi0_in_vp1 {
	status = "disabled";
};

&route_dsi0 {
	status = "okay";
	connect = <&vp0_out_dsi0>;
};

&hdmi_in_vp0 {
	status = "okay";
};

&hdmi_in_vp1 {
	status = "disabled";
};

&route_hdmi {
	status = "okay";
	connect = <&vp0_out_hdmi>;
};
